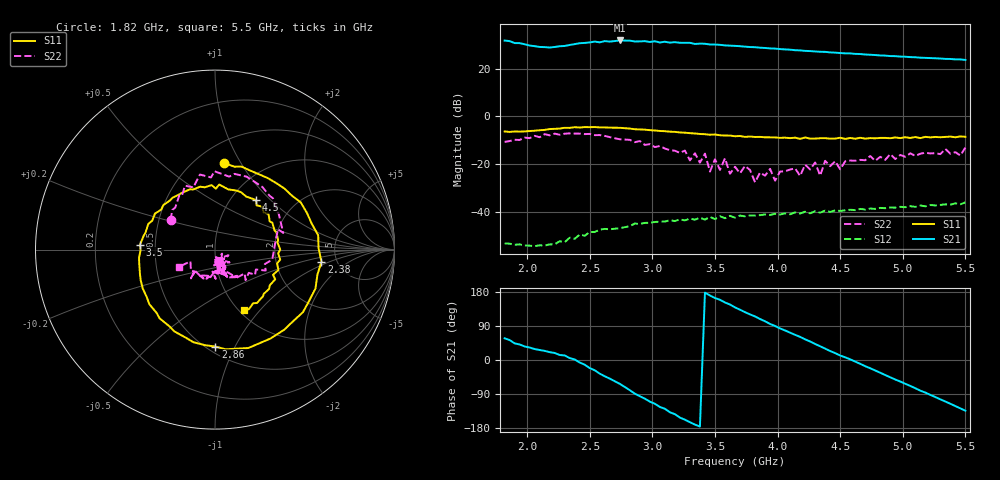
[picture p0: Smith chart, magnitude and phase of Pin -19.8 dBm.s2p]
! RsaToolbox (C) 2015 Rohde & Schwarz America
! Number of points: 91
! Number of ports: 2
! Balanced ports?: No
# Hz S RI R 50
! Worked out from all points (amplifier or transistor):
!   91 points, 1.82 GHz to 5.5 GHz, reference 50 ohm
!   highest |S21| = 31.9 dB at 2.74 GHz (marker M1)
!   |S21| within 3 dB of that: start of sweep to 3.852 GHz
!   unconditionally stable (mu >= 1): start of sweep to end of sweep
!   at 2.42 GHz: K = 2.60, MAG = 33.1 dB, |S12| = -49.5 dB
!   at 3.7 GHz: K = 1.83, MAG = 30.2 dB, |S12| = -41.6 dB
!   at 5.5 GHz: K = 1.74, MAG = 24.9 dB, |S12| = -36.0 dB
!   S11 on the Smith chart (normalised r, x): 1.82 GHz: 0.67, +0.85; 2.38 GHz: 3.78, -0.79; 2.86 GHz: 0.55, -0.84; 3.5 GHz: 0.41, +0.03; 4.5 GHz: 1.30, +0.82; 5.5 GHz: 1.06, -0.83
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1.82e9  0.0509 0.4827  21.16 32.92  -0.000127 -0.00218  -0.2437 0.164
1.9e9  0.1476 0.4624  25.06 24.03  -0.000387 -0.002  -0.2381 0.2212
2.06e9  0.3397 0.3713  26.19 14.43  -0.00055 -0.00182  -0.1671 0.3564
2.18e9  0.4773 0.2633  26.2 9.905  -0.00051 -0.00201  -0.0222 0.4018
2.38e9  0.5931 -0.0675  32.97 0.7697  -0.000896 -0.00257  0.2089 0.3852
2.46e9  0.5601 -0.2159  34.1 -7.577  -0.00141 -0.00282  0.3039 0.3002
2.54e9  0.4901 -0.3484  33.19 -17.09  -0.00228 -0.00301  0.3491 0.2071
2.74e9  0.1858 -0.5483  17.89 -35.08  -0.00421 -0.00169  0.3323 0.0201
2.86e9  0.00243 -0.5401  0.7406 -37.5  -0.0056 -0.000989  0.2776 -0.0804
3.02e9  -0.2265 -0.4558  -16.31 -34.23  -0.0059 0.00162  0.1883 -0.1292
3.06e9  -0.253 -0.4281  -19.9 -29.62  -0.00596 0.00185  0.1702 -0.1703
3.1e9  -0.3089 -0.3829  -23.15 -28.9  -0.00561 0.00275  0.1656 -0.1327
3.3e9  -0.4143 -0.1694  -33.81 -9.624  -0.00486 0.00534  0.0445 -0.1117
3.5e9  -0.4174 0.0279  -31.01 9.118  -0.00197 0.00675  0.0185 -0.1256
3.66e9  -0.3496 0.1614  -22.8 19.97  0.000313 0.00752  -0.00479 -0.0881
3.82e9  -0.2526 0.2725  -11.98 25.78  0.0029 0.00781  0.00464 -0.0415
3.98e9  -0.1381 0.3366  0.1524 26.6  0.00573 0.00709  0.0391 -0.0224
4.3e9  0.0826 0.3345  17.14 15.56  0.01 0.00238  0.0813 -0.0715
4.5e9  0.2289 0.2765  21 4.42  0.0103 -0.00167  0.0424 -0.0654
4.9e9  0.3472 0.0413  12.94 -13.26  0.00707 -0.0101  0.00372 -0.1629
5.22e9  0.3056 -0.1979  -0.5702 -16.8  -0.00112 -0.0139  -0.0842 -0.1456
5.5e9  0.1633 -0.3374  -10.64 -11.11  -0.00911 -0.0129  -0.2015 -0.0964
